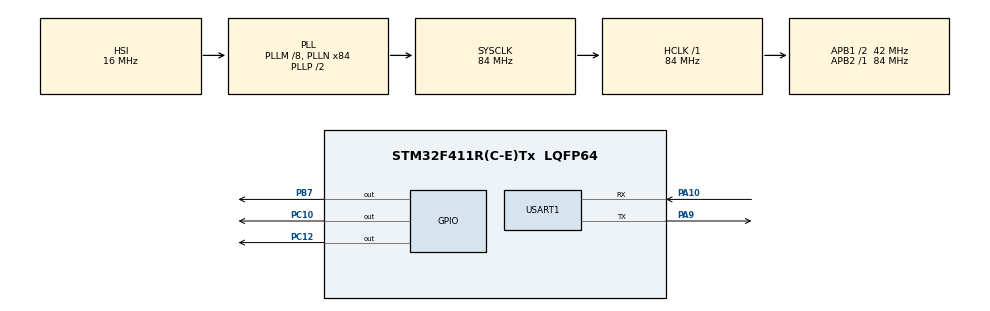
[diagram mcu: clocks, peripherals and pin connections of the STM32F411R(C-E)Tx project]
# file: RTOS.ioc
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Mcu.Family=STM32F4
Mcu.Name=STM32F411R(C-E)Tx
Mcu.Package=LQFP64
NVIC.PriorityGroup=NVIC_PRIORITYGROUP_4
NVIC.TIM3_IRQn=true\:15\:0\:false\:false\:true\:false\:true\:true
NVIC.TimeBase=TIM3_IRQn
NVIC.TimeBaseIP=TIM3
NVIC.USART1_IRQn=true\:6\:0\:true\:false\:true\:true\:true\:true
PA10.Mode=Asynchronous
PA10.Signal=USART1_RX
PA13.Mode=Serial_Wire
PA13.Signal=SYS_JTMS-SWDIO
PA14.Mode=Serial_Wire
PA14.Signal=SYS_JTCK-SWCLK
PA9.Mode=Asynchronous
PA9.Signal=USART1_TX
PB7.GPIO_ModeDefaultOutputPP=GPIO_MODE_OUTPUT_PP
PB7.PinState=GPIO_PIN_SET
PB7.Signal=GPIO_Output
PC10.PinState=GPIO_PIN_SET
PC10.Signal=GPIO_Output
PC12.PinState=GPIO_PIN_SET
PC12.Signal=GPIO_Output
PC14-OSC32_IN.Mode=LSE-External-Clock-Source
PC14-OSC32_IN.Signal=RCC_OSC32_IN
PC15-OSC32_OUT.Mode=LSE-External-Clock-Source
PC15-OSC32_OUT.Signal=RCC_OSC32_OUT
ProjectManager.HeapSize=0x200
ProjectManager.StackSize=0x400
ProjectManager.TargetToolchain=STM32CubeIDE
RCC.48MHZClocksFreq_Value=42000000
RCC.AHBFreq_Value=84000000
RCC.APB1CLKDivider=RCC_HCLK_DIV2
RCC.APB1Freq_Value=42000000
RCC.APB1TimFreq_Value=84000000
RCC.APB2Freq_Value=84000000
RCC.APB2TimFreq_Value=84000000
RCC.CortexFreq_Value=84000000
RCC.HCLKFreq_Value=84000000
RCC.HSE_VALUE=25000000
RCC.HSI_VALUE=16000000
RCC.LSE_VALUE=32768
RCC.PLLM=8
RCC.PLLN=84
RCC.SYSCLKFreq_VALUE=84000000
RCC.SYSCLKSource=RCC_SYSCLKSOURCE_PLLCLK
RCC.VCOOutputFreq_Value=168000000
RTC.Date=28
RTC.Format=RTC_FORMAT_BCD
RTC.Hours=23
RTC.Month=RTC_MONTH_DECEMBER
RTC.Seconds=20
RTC.WeekDay=RTC_WEEKDAY_WEDNESDAY
RTC.Year=23
USART1.VirtualMode=VM_ASYNC
VP_RTC_VS_RTC_Activate.Mode=RTC_Enabled
VP_RTC_VS_RTC_Calendar.Mode=RTC_Calendar
VP_SYS_VS_tim3.Mode=TIM3
board=custom

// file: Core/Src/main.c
/* USER CODE BEGIN Header */
/**
  ******************************************************************************
  * @file           : main.c
  * @brief          : Main program body
  ******************************************************************************
  * @attention
  *
  * Copyright (c) 2023 STMicroelectronics.
  * All rights reserved.
  *
  * This software is licensed under terms that can be found in the LICENSE file
  * in the root directory of this software component.
  * If no LICENSE file comes with this software, it is provided AS-IS.
  *
  ******************************************************************************
  */
/* USER CODE END Header */
#include "main.h"
#include "rtc.h"
#include "usart.h"
#include "gpio.h"

/* USER CODE BEGIN Includes */
#include "FreeRTOS.h"
#include "task.h"
#include "OS_Task.h"
#include "DWT_Counter.h"
#include "Rtc_Lib.h"
#include "Led_Mode.h"
#include "RTOS_State_Machine.h"
#include "queue.h"

/* USER CODE END Includes */

/* USER CODE BEGIN PV */
TaskHandle_t Task_Print_Queue_Kernel_Ptr;
TaskHandle_t Task_Print_Menu_Kernel_Ptr;
TaskHandle_t Task_Led_Effect_Kernel_Ptr;
TaskHandle_t Task_RTC_Kernel_Ptr;
TaskHandle_t Task_Handle_Received_Command_Kernel_Ptr;
TaskHandle_t Task_RTC_Configure_Hour_Kernel_Ptr;
TaskHandle_t Task_RTC_Configure_Min_Kernel_Ptr;
TaskHandle_t Task_RTC_Configure_Second_Kernel_Ptr;
TaskHandle_t Task_RTC_Configure_Time_Kernel_Ptr;
TaskHandle_t Task_RTC_Configure_Date_Kernel_Ptr;
TaskHandle_t Task_RTC_Configure_Day_Kernel_Ptr;
TaskHandle_t Task_RTC_Configure_Month_Kernel_Ptr;
TaskHandle_t Task_RTC_Configure_Year_Kernel_Ptr;

QueueHandle_t Queue_Data;
QueueHandle_t Queue_Print;

uint8_t App_Data = 0;

RTOS_State_Machine_enum_t Global_State = main_menu;

/* USER CODE END PV */

void SystemClock_Config(void);

/* USER CODE BEGIN 0 */
void SEGGER_UART_init(U32 baud);
/* USER CODE END 0 */

int main(void)
{
  /* USER CODE BEGIN 1 */
    BaseType_t status;

  /* USER CODE END 1 */

  /* MCU Configuration--------------------------------------------------------*/

  /* Reset of all peripherals, Initializes the Flash interface and the Systick. */
  HAL_Init();

  /* Configure the system clock */
  SystemClock_Config();

  /* Initialize all configured peripherals */
  MX_GPIO_Init();
  MX_RTC_Init();
  MX_USART1_UART_Init();
  /* USER CODE BEGIN 2 */

    DWT_Enable();
    SEGGER_UART_init(250000);

    SEGGER_SYSVIEW_Conf();

    /* Create task 1 */
    status = xTaskCreate(   Task_Print_Queue,
                            "Task_1",
                            400,
                            "Task Print Queue",
                            2,
                            &Task_Print_Queue_Kernel_Ptr
                          );

    /* Check xTaskCreate status */
    configASSERT(status == pdPASS);

    /* Create task 2 */
    status = xTaskCreate(   Task_Print_Menu,
                            "Task_2",
                            400,
                            "Task Print Menu",
                            2,
                            &Task_Print_Menu_Kernel_Ptr
                          );

    /* Check xTaskCreate status */
    configASSERT(status == pdPASS);

    /* Create task 3 */
    status = xTaskCreate(   Task_Led_Effect,
                            "Task_3",
                            400,
                            "Task Led Effect",
                            2,
                            &Task_Led_Effect_Kernel_Ptr
                          );

    /* Check xTaskCreate status */
    configASSERT(status == pdPASS);

    /* Create task 4 */
    status = xTaskCreate(   Task_RTC,
                            "Task_4",
                            400,
                            "Task RTC",
                            2,
                            &Task_RTC_Kernel_Ptr
                          );

    /* Check xTaskCreate status */
    configASSERT(status == pdPASS);

    /* Create task 5 */
    status = xTaskCreate(   Task_Handle_Received_Command,
                            "Task_5",
                            400,
                            "Task Handle received command",
                            2,
                            &Task_Handle_Received_Command_Kernel_Ptr
                          );

    /* Check xTaskCreate status */
    configASSERT(status == pdPASS);

    /* Create task 6 */
    status = xTaskCreate(   Task_RTC_Configure_Hour,
                            "Task_6",
                            400,
                            "Task RTC configure Hour",
                            2,
                            &Task_RTC_Configure_Hour_Kernel_Ptr
                          );

    /* Check xTaskCreate status */
    configASSERT(status == pdPASS);

    /* Create task 7 */
    status = xTaskCreate(   Task_RTC_Configure_Min,
                            "Task_7",
                            400,
                            "Task RTC configure Min",
                            2,
                            &Task_RTC_Configure_Min_Kernel_Ptr
                          );

    /* Check xTaskCreate status */
    configASSERT(status == pdPASS);

    /* Create task 8 */
    status = xTaskCreate(   Task_RTC_Configure_Second,
                            "Task_8",
                            400,
                            "Task RTC configure Second",
                            2,
                            &Task_RTC_Configure_Second_Kernel_Ptr
                          );

    /* Check xTaskCreate status */
    configASSERT(status == pdPASS);

    /* Create task 9 */
    status = xTaskCreate(   Task_RTC_Configure_Time,
                            "Task_9",
                            400,
                            "Task RTC configure Time",
                            2,
                            &Task_RTC_Configure_Time_Kernel_Ptr
                          );

    /* Check xTaskCreate status */
    configASSERT(status == pdPASS);

    /* Create task 10 */
    status = xTaskCreate(   Task_RTC_Configure_Date,
                            "Task_10",
                            400,
                            "Task RTC configure Date",
                            2,
                            &Task_RTC_Configure_Date_Kernel_Ptr
                          );

    /* Check xTaskCreate status */
    configASSERT(status == pdPASS);

    /* Create task 11 */
    status = xTaskCreate(   Task_RTC_Configure_Day,
                            "Task_11",
                            400,
                            "Task RTC configure Day",
                            2,
                            &Task_RTC_Configure_Day_Kernel_Ptr
                          );

    /* Check xTaskCreate status */
    configASSERT(status == pdPASS);

    /* Create task 12 */
    status = xTaskCreate(   Task_RTC_Configure_Month,
                            "Task_12",
                            400,
                            "Task RTC configure Month",
                            2,
                            &Task_RTC_Configure_Month_Kernel_Ptr
                          );

    /* Create task 13 */
    status = xTaskCreate(   Task_RTC_Configure_Year,
                            "Task_13",
                            400,
                            "Task RTC configure Year",
                            2,
                            &Task_RTC_Configure_Year_Kernel_Ptr
                          );

    /* Check xTaskCreate status */
    configASSERT(status == pdPASS);

    /* Create task 14 */
    status = xTaskCreate(   Task_RTC_Configure_Date,
                            "Task_14",
                            400,
                            "Task RTC configure Date",
                            2,
                            &Task_RTC_Configure_Date_Kernel_Ptr
                          );

    /* Check xTaskCreate status */
    configASSERT(status == pdPASS);

    LED_Mode_Off();

    /* Create queue print */
    Queue_Data = xQueueCreate (10, sizeof(char));
	configASSERT(Queue_Data != NULL);

    /* Create queue print */
    Queue_Print = xQueueCreate (10, sizeof(size_t));
	configASSERT(Queue_Print != NULL);

    /* Enable UART data byte reception again in IT mode */
	HAL_UART_Receive_IT(&huart1, (uint8_t*)&App_Data, 1);

    vTaskStartScheduler();

  /* USER CODE END 2 */

  /* Infinite loop */
  while (1)
  {

  }
}

void SystemClock_Config(void)
{
  RCC_OscInitTypeDef RCC_OscInitStruct = {0};
  RCC_ClkInitTypeDef RCC_ClkInitStruct = {0};

  /** Configure the main internal regulator output voltage
  */
  __HAL_RCC_PWR_CLK_ENABLE();
  __HAL_PWR_VOLTAGESCALING_CONFIG(PWR_REGULATOR_VOLTAGE_SCALE1);

  /** Initializes the RCC Oscillators according to the specified parameters
  * in the RCC_OscInitTypeDef structure.
  */
  RCC_OscInitStruct.OscillatorType = RCC_OSCILLATORTYPE_HSI|RCC_OSCILLATORTYPE_LSI;
  RCC_OscInitStruct.HSIState = RCC_HSI_ON;
  RCC_OscInitStruct.HSICalibrationValue = RCC_HSICALIBRATION_DEFAULT;
  RCC_OscInitStruct.LSIState = RCC_LSI_ON;
  RCC_OscInitStruct.PLL.PLLState = RCC_PLL_ON;
  RCC_OscInitStruct.PLL.PLLSource = RCC_PLLSOURCE_HSI;
  RCC_OscInitStruct.PLL.PLLM = 8;
  RCC_OscInitStruct.PLL.PLLN = 84;
  RCC_OscInitStruct.PLL.PLLP = RCC_PLLP_DIV2;
  RCC_OscInitStruct.PLL.PLLQ = 4;
  if (HAL_RCC_OscConfig(&RCC_OscInitStruct) != HAL_OK)
  {
    Error_Handler();
  }

  /** Initializes the CPU, AHB and APB buses clocks
  */
  RCC_ClkInitStruct.ClockType = RCC_CLOCKTYPE_HCLK|RCC_CLOCKTYPE_SYSCLK
                              |RCC_CLOCKTYPE_PCLK1|RCC_CLOCKTYPE_PCLK2;
  RCC_ClkInitStruct.SYSCLKSource = RCC_SYSCLKSOURCE_PLLCLK;
  RCC_ClkInitStruct.AHBCLKDivider = RCC_SYSCLK_DIV1;
  RCC_ClkInitStruct.APB1CLKDivider = RCC_HCLK_DIV2;
  RCC_ClkInitStruct.APB2CLKDivider = RCC_HCLK_DIV1;

  if (HAL_RCC_ClockConfig(&RCC_ClkInitStruct, FLASH_LATENCY_2) != HAL_OK)
  {
    Error_Handler();
  }
}

void HAL_TIM_PeriodElapsedCallback(TIM_HandleTypeDef *htim)
{
  if (htim->Instance == TIM3) {
    HAL_IncTick();
  }
}

void Error_Handler(void)
{
  __disable_irq();
  while (1)
  {
  }
}
